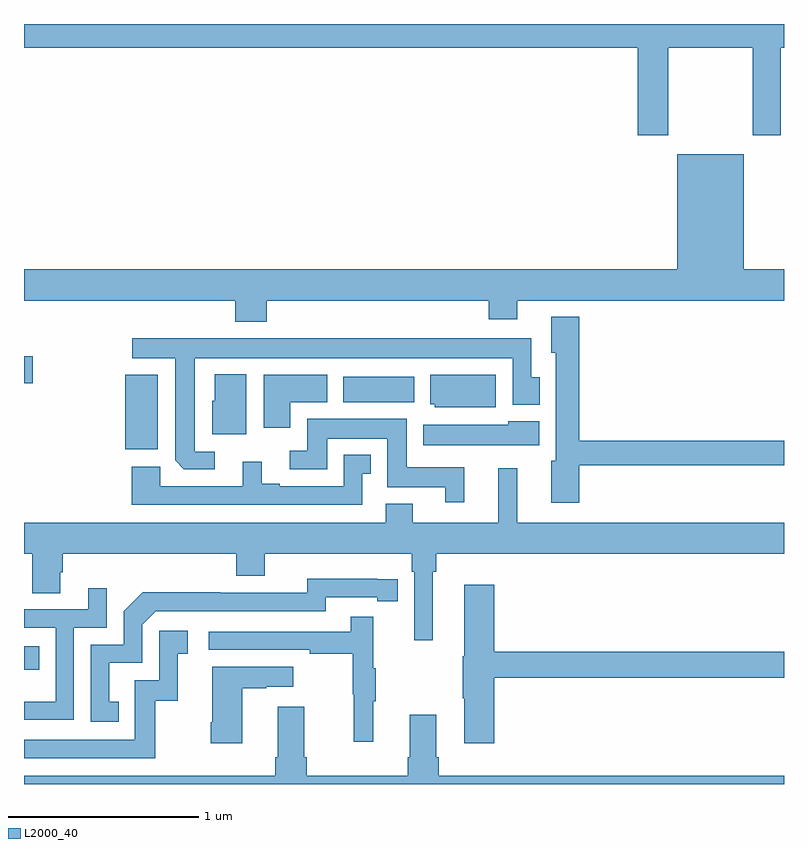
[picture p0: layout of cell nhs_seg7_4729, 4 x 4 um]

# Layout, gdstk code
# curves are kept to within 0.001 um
import gdstk
lib = gdstk.Library(unit=1e-6, precision=1e-09)
def R(c, l, rs):  # rectangles x0, y0, x1, y1
    for r in rs: c.add(gdstk.rectangle(r[:2], r[2:], *l))
def P(c, l, *ps):  # polygons
    for p in ps: c.add(gdstk.Polygon(p, *l))
L2000_40 = (2000, 40)

nhs_seg7_4729 = lib.new_cell('nhs_seg7_4729')
R(nhs_seg7_4729, L2000_40, [(407,1070.601,407.081,1070.724), (407.534,1071.761,407.704,1072.153), (408.68,1072.01,409.054,1072.144), (407,1072.109,407.047,1072.251)])
P(nhs_seg7_4729, L2000_40, [(410.391,1073.876),(410.836,1073.876),(410.836,1073.415),(410.983,1073.415),(410.983,1073.876),(411,1073.876),(411,1074),(407,1074),(407,1073.876),(410.231,1073.876),(410.231,1073.415),(410.391,1073.415)],
  [(408.278,1072.544),(409.445,1072.544),(409.445,1072.445),(409.597,1072.445),(409.597,1072.544),(411,1072.544),(411,1072.708),(410.788,1072.708),(410.788,1073.314),(410.438,1073.314),(410.438,1072.708),(407,1072.708),(407,1072.544),(408.113,1072.544),(408.113,1072.433),(408.278,1072.433)],
  [(409.922,1071.678),(411,1071.678),(411,1071.806),(409.922,1071.806),(409.922,1072.459),(409.775,1072.459),(409.775,1072.269),(409.799,1072.269),(409.799,1071.702),(409.775,1071.702),(409.775,1071.48),(409.922,1071.48)],
  [(408.004,1071.75),(407.899,1071.75),(407.899,1072.241),(409.572,1072.241),(409.572,1071.996),(409.714,1071.996),(409.714,1072.14),(409.669,1072.14),(409.669,1072.345),(407.571,1072.345),(407.571,1072.241),(407.795,1072.241),(407.796,1071.703),(407.842,1071.657),(408.004,1071.657)],
  [(408.169,1072.156),(408.005,1072.156),(408.005,1072.017),(407.99,1072.017),(407.99,1071.84),(408.169,1071.84)],
  [(408.4,1072.01),(408.595,1072.01),(408.595,1072.153),(408.263,1072.153),(408.263,1071.876),(408.4,1071.876)],
  [(409.483,1072.153),(409.139,1072.153),(409.139,1071.999),(409.161,1071.999),(409.161,1071.983),(409.483,1071.983)],
  [(409.316,1071.667),(409.015,1071.667),(409.015,1071.922),(408.491,1071.922),(408.491,1071.753),(408.399,1071.753),(408.399,1071.657),(408.595,1071.657),(408.595,1071.818),(408.911,1071.818),(408.911,1071.563),(409.217,1071.563),(409.217,1071.483),(409.316,1071.483)],
  [(409.711,1071.91),(409.548,1071.91),(409.548,1071.892),(409.1,1071.892),(409.1,1071.782),(409.711,1071.782)],
  [(408.78,1071.633),(408.826,1071.633),(408.826,1071.733),(408.684,1071.733),(408.684,1071.567),(408.346,1071.567),(408.346,1071.58),(408.25,1071.58),(408.25,1071.697),(408.152,1071.697),(408.152,1071.567),(407.718,1071.567),(407.718,1071.67),(407.567,1071.67),(407.567,1071.471),(408.78,1071.471)],
  [(409.15,1071.116),(409.169,1071.116),(409.169,1071.212),(411,1071.212),(411,1071.376),(409.595,1071.376),(409.595,1071.661),(409.496,1071.661),(409.496,1071.376),(409.045,1071.376),(409.045,1071.475),(408.905,1071.475),(408.905,1071.376),(407,1071.376),(407,1071.212),(407.044,1071.212),(407.044,1071.004),(407.191,1071.004),(407.191,1071.114),(407.204,1071.114),(407.204,1071.212),(408.116,1071.212),(408.116,1071.095),(408.268,1071.095),(408.268,1071.212),(409.04,1071.212),(409.04,1071.116),(409.053,1071.116),(409.053,1070.757),(409.15,1070.757)],
  [(407.498,1070.433),(407.449,1070.433),(407.449,1070.637),(407.622,1070.637),(407.622,1070.838),(407.694,1070.91),(408.588,1070.91),(408.588,1070.982),(408.86,1070.982),(408.86,1070.962),(408.968,1070.962),(408.968,1071.078),(408.492,1071.079),(408.492,1071.006),(408.032,1071.006),(408.032,1071.008),(407.624,1071.008),(407.526,1070.91),(407.526,1070.733),(407.352,1070.733),(407.352,1070.328),(407.498,1070.328)],
  [(409.475,1070.56),(411,1070.56),(411,1070.696),(409.475,1070.696),(409.475,1071.049),(409.316,1071.049),(409.316,1070.673),(409.309,1070.673),(409.309,1070.452),(409.316,1070.452),(409.316,1070.214),(409.475,1070.214)],
  [(407.262,1070.823),(407.436,1070.823),(407.436,1071.031),(407.339,1071.031),(407.339,1070.919),(407,1070.919),(407,1070.823),(407.166,1070.823),(407.166,1070.434),(407,1070.434),(407,1070.337),(407.262,1070.337)],
  [(408.839,1070.435),(408.85,1070.435),(408.85,1070.609),(408.839,1070.609),(408.839,1070.881),(408.721,1070.881),(408.721,1070.802),(407.973,1070.802),(407.973,1070.706),(408.505,1070.706),(408.505,1070.686),(408.729,1070.686),(408.729,1070.472),(408.736,1070.472),(408.736,1070.223),(408.839,1070.223)],
  [(407.692,1070.439),(407.81,1070.439),(407.81,1070.685),(407.863,1070.685),(407.863,1070.806),(407.712,1070.806),(407.712,1070.547),(407.583,1070.547),(407.583,1070.232),(407,1070.232),(407,1070.136),(407.692,1070.136)],
  [(408.148,1070.503),(408.275,1070.503),(408.275,1070.513),(408.418,1070.513),(408.418,1070.617),(407.99,1070.617),(407.99,1070.326),(407.983,1070.326),(407.983,1070.214),(408.148,1070.214)],
  [(411,1070.044),(409.184,1070.044),(409.184,1070.14),(409.171,1070.14),(409.171,1070.365),(409.031,1070.365),(409.031,1070.14),(409.019,1070.14),(409.019,1070.044),(408.488,1070.044),(408.488,1070.14),(408.475,1070.14),(408.475,1070.407),(408.335,1070.407),(408.335,1070.14),(408.323,1070.14),(408.323,1070.044),(407,1070.044),(407,1070),(411,1070)])

lib.write_gds('nhs_seg7_4729.gds')
